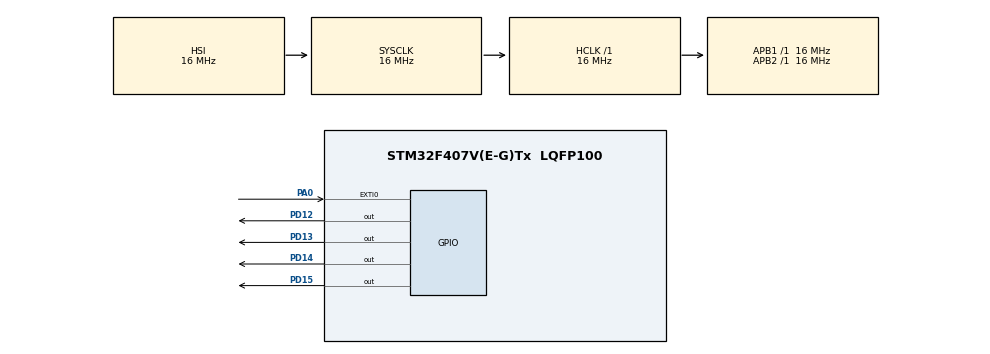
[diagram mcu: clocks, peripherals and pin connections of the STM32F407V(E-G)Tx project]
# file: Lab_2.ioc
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Mcu.Family=STM32F4
Mcu.Name=STM32F407V(E-G)Tx
Mcu.Package=LQFP100
NVIC.EXTI0_IRQn=true\:0\:0\:false\:false\:true\:true\:true\:true
NVIC.PriorityGroup=NVIC_PRIORITYGROUP_4
PA0-WKUP.Signal=GPXTI0
PD12.Signal=GPIO_Output
PD13.Signal=GPIO_Output
PD14.Signal=GPIO_Output
PD15.Signal=GPIO_Output
ProjectManager.HeapSize=0x200
ProjectManager.StackSize=0x400
ProjectManager.TargetToolchain=STM32CubeIDE
RCC.AHBFreq_Value=16000000
RCC.APB1Freq_Value=16000000
RCC.APB2Freq_Value=16000000
RCC.CortexFreq_Value=16000000
RCC.HSE_VALUE=25000000
RCC.HSI_VALUE=16000000
RCC.LSE_VALUE=32768
RCC.SYSCLKFreq_VALUE=16000000
RCC.VCOOutputFreq_Value=192000000
board=custom

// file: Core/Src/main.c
/* USER CODE BEGIN Header */
/**
  ******************************************************************************
  * @file           : main.c
  * @brief          : Main program body
  ******************************************************************************
  * @attention
  *
  * Copyright (c) 2023 STMicroelectronics.
  * All rights reserved.
  *
  * This software is licensed under terms that can be found in the LICENSE file
  * in the root directory of this software component.
  * If no LICENSE file comes with this software, it is provided AS-IS.
  *
  ******************************************************************************
  */
/* USER CODE END Header */
#include "main.h"

/* USER CODE BEGIN PD */
#define SWITCH_DELAY (500)
/* USER CODE END PD */

/* USER CODE BEGIN PV */
unsigned int ledN=0;
/* USER CODE END PV */

void SystemClock_Config(void);
static void MX_GPIO_Init(void);

int main(void)
{

  /* MCU Configuration--------------------------------------------------------*/

  /* Reset of all peripherals, Initializes the Flash interface and the Systick. */
  HAL_Init();

  /* Configure the system clock */
  SystemClock_Config();

  /* Initialize all configured peripherals */
  MX_GPIO_Init();

  /* Infinite loop */
  /* USER CODE BEGIN WHILE */
  while (1)
  {
	  if(ledN==0){
	  		  HAL_GPIO_WritePin(GPIOD, GPIO_PIN_15, GPIO_PIN_SET);
	  		  HAL_Delay(SWITCH_DELAY);
	  		  HAL_GPIO_WritePin(GPIOD, GPIO_PIN_15, GPIO_PIN_RESET);
	  		  HAL_Delay(SWITCH_DELAY);
	  	  }
	  	  else if(ledN==1){
	  		  HAL_GPIO_WritePin(GPIOD, GPIO_PIN_14, GPIO_PIN_SET);
	  		  HAL_Delay(SWITCH_DELAY);
	  		  HAL_GPIO_WritePin(GPIOD, GPIO_PIN_14, GPIO_PIN_RESET);
	  		  HAL_Delay(SWITCH_DELAY);
	  	  }
	  	  else if(ledN==2){
	  		  HAL_GPIO_WritePin(GPIOD, GPIO_PIN_13, GPIO_PIN_SET);
	  		  HAL_Delay(SWITCH_DELAY);
	  		  HAL_GPIO_WritePin(GPIOD, GPIO_PIN_13, GPIO_PIN_RESET);
	  		  HAL_Delay(SWITCH_DELAY);
	  	  }
	  	  else{
	  		  HAL_GPIO_WritePin(GPIOD, GPIO_PIN_12, GPIO_PIN_SET);
	  		  HAL_Delay(SWITCH_DELAY);
	  		  HAL_GPIO_WritePin(GPIOD, GPIO_PIN_12, GPIO_PIN_RESET);
	  		  HAL_Delay(SWITCH_DELAY);
	  	 }
    /* USER CODE END WHILE */

  }
}

void SystemClock_Config(void)
{
  RCC_OscInitTypeDef RCC_OscInitStruct = {0};
  RCC_ClkInitTypeDef RCC_ClkInitStruct = {0};

  /** Configure the main internal regulator output voltage
  */
  __HAL_RCC_PWR_CLK_ENABLE();
  __HAL_PWR_VOLTAGESCALING_CONFIG(PWR_REGULATOR_VOLTAGE_SCALE1);

  /** Initializes the RCC Oscillators according to the specified parameters
  * in the RCC_OscInitTypeDef structure.
  */
  RCC_OscInitStruct.OscillatorType = RCC_OSCILLATORTYPE_HSI;
  RCC_OscInitStruct.HSIState = RCC_HSI_ON;
  RCC_OscInitStruct.HSICalibrationValue = RCC_HSICALIBRATION_DEFAULT;
  RCC_OscInitStruct.PLL.PLLState = RCC_PLL_NONE;
  if (HAL_RCC_OscConfig(&RCC_OscInitStruct) != HAL_OK)
  {
    Error_Handler();
  }

  /** Initializes the CPU, AHB and APB buses clocks
  */
  RCC_ClkInitStruct.ClockType = RCC_CLOCKTYPE_HCLK|RCC_CLOCKTYPE_SYSCLK
                              |RCC_CLOCKTYPE_PCLK1|RCC_CLOCKTYPE_PCLK2;
  RCC_ClkInitStruct.SYSCLKSource = RCC_SYSCLKSOURCE_HSI;
  RCC_ClkInitStruct.AHBCLKDivider = RCC_SYSCLK_DIV1;
  RCC_ClkInitStruct.APB1CLKDivider = RCC_HCLK_DIV1;
  RCC_ClkInitStruct.APB2CLKDivider = RCC_HCLK_DIV1;

  if (HAL_RCC_ClockConfig(&RCC_ClkInitStruct, FLASH_LATENCY_0) != HAL_OK)
  {
    Error_Handler();
  }
}

static void MX_GPIO_Init(void)
{
  GPIO_InitTypeDef GPIO_InitStruct = {0};

  /* GPIO Ports Clock Enable */
  __HAL_RCC_GPIOA_CLK_ENABLE();
  __HAL_RCC_GPIOD_CLK_ENABLE();

  /*Configure GPIO pin Output Level */
  HAL_GPIO_WritePin(GPIOD, GPIO_PIN_12|GPIO_PIN_13|GPIO_PIN_14|GPIO_PIN_15, GPIO_PIN_RESET);

  /*Configure GPIO pin : PA0 */
  GPIO_InitStruct.Pin = GPIO_PIN_0;
  GPIO_InitStruct.Mode = GPIO_MODE_IT_RISING;
  GPIO_InitStruct.Pull = GPIO_NOPULL;
  HAL_GPIO_Init(GPIOA, &GPIO_InitStruct);

  /*Configure GPIO pins : PD12 PD13 PD14 PD15 */
  GPIO_InitStruct.Pin = GPIO_PIN_12|GPIO_PIN_13|GPIO_PIN_14|GPIO_PIN_15;
  GPIO_InitStruct.Mode = GPIO_MODE_OUTPUT_PP;
  GPIO_InitStruct.Pull = GPIO_NOPULL;
  GPIO_InitStruct.Speed = GPIO_SPEED_FREQ_LOW;
  HAL_GPIO_Init(GPIOD, &GPIO_InitStruct);

  /* EXTI interrupt init*/
  HAL_NVIC_SetPriority(EXTI0_IRQn, 0, 0);
  HAL_NVIC_EnableIRQ(EXTI0_IRQn);

}

void Error_Handler(void)
{
  __disable_irq();
  while (1)
  {
  }
}
